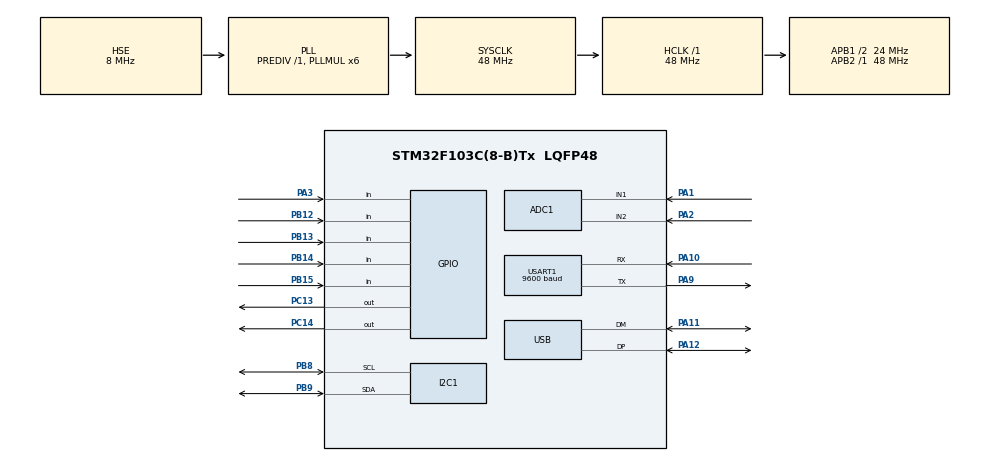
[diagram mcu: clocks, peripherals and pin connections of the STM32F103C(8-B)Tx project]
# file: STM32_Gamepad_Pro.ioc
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ADC1.Channel-3\#ChannelRegularConversion=ADC_CHANNEL_1
ADC1.Channel-4\#ChannelRegularConversion=ADC_CHANNEL_2
ADC1.ContinuousConvMode=ENABLE
ADC1.NbrOfConversion=2
ADC1.NbrOfConversionFlag=1
ADC1.Rank-3\#ChannelRegularConversion=1
ADC1.Rank-4\#ChannelRegularConversion=2
ADC1.SamplingTime-3\#ChannelRegularConversion=ADC_SAMPLETIME_239CYCLES_5
ADC1.SamplingTime-4\#ChannelRegularConversion=ADC_SAMPLETIME_239CYCLES_5
ADC1.master=1
Dma.ADC1.0.Direction=DMA_PERIPH_TO_MEMORY
Dma.ADC1.0.Instance=DMA1_Channel1
Dma.ADC1.0.MemDataAlignment=DMA_MDATAALIGN_WORD
Dma.ADC1.0.MemInc=DMA_MINC_ENABLE
Dma.ADC1.0.Mode=DMA_CIRCULAR
Dma.ADC1.0.PeriphDataAlignment=DMA_PDATAALIGN_WORD
Dma.ADC1.0.PeriphInc=DMA_PINC_DISABLE
Dma.ADC1.0.Priority=DMA_PRIORITY_LOW
Dma.Request0=ADC1
I2C1.I2C_Mode=I2C_Fast
Mcu.Family=STM32F1
Mcu.Name=STM32F103C(8-B)Tx
Mcu.Package=LQFP48
NVIC.DMA1_Channel1_IRQn=true\:0\:0\:false\:false\:true\:false\:true\:true
NVIC.PriorityGroup=NVIC_PRIORITYGROUP_4
NVIC.USART1_IRQn=true\:0\:0\:false\:false\:true\:true\:true\:true
NVIC.USB_LP_CAN1_RX0_IRQn=true\:0\:0\:false\:false\:true\:false\:true\:true
PA1.Signal=ADCx_IN1
PA10.Mode=Asynchronous
PA10.Signal=USART1_RX
PA11.Mode=Device
PA11.Signal=USB_DM
PA12.Mode=Device
PA12.Signal=USB_DP
PA13.Mode=Serial_Wire
PA13.Signal=SYS_JTMS-SWDIO
PA14.Mode=Serial_Wire
PA14.Signal=SYS_JTCK-SWCLK
PA2.Signal=ADCx_IN2
PA3.GPIO_PuPd=GPIO_PULLUP
PA3.Signal=GPIO_Input
PA9.Mode=Asynchronous
PA9.Signal=USART1_TX
PB12.GPIO_PuPd=GPIO_PULLUP
PB12.Signal=GPIO_Input
PB13.GPIO_PuPd=GPIO_PULLUP
PB13.Signal=GPIO_Input
PB14.GPIO_PuPd=GPIO_PULLUP
PB14.Signal=GPIO_Input
PB15.GPIO_PuPd=GPIO_PULLUP
PB15.Signal=GPIO_Input
PB8.Mode=I2C
PB8.Signal=I2C1_SCL
PB9.Mode=I2C
PB9.Signal=I2C1_SDA
PC13-TAMPER-RTC.Signal=GPIO_Output
PC14-OSC32_IN.Signal=GPIO_Output
PD0-OSC_IN.Mode=HSE-External-Oscillator
PD0-OSC_IN.Signal=RCC_OSC_IN
PD1-OSC_OUT.Mode=HSE-External-Oscillator
PD1-OSC_OUT.Signal=RCC_OSC_OUT
ProjectManager.HeapSize=0x200
ProjectManager.StackSize=0x400
ProjectManager.TargetToolchain=STM32CubeIDE
RCC.ADCPresc=RCC_ADCPCLK2_DIV4
RCC.AHBFreq_Value=48000000
RCC.APB1CLKDivider=RCC_HCLK_DIV2
RCC.APB1Freq_Value=24000000
RCC.APB1TimFreq_Value=48000000
RCC.APB2Freq_Value=48000000
RCC.APB2TimFreq_Value=48000000
RCC.HCLKFreq_Value=48000000
RCC.PLLMUL=RCC_PLL_MUL6
RCC.PLLSourceVirtual=RCC_PLLSOURCE_HSE
RCC.SYSCLKFreq_VALUE=48000000
RCC.SYSCLKSource=RCC_SYSCLKSOURCE_PLLCLK
RCC.USBFreq_Value=48000000
SH.ADCx_IN1.0=ADC1_IN1,IN1
SH.ADCx_IN2.0=ADC1_IN2,IN2
USART1.BaudRate=9600
USART1.VirtualMode=VM_ASYNC
USB_DEVICE.CLASS_NAME_FS=HID
USB_DEVICE.VirtualMode=Hid
USB_DEVICE.VirtualModeFS=Hid_FS
VP_USB_DEVICE_VS_USB_DEVICE_HID_FS.Mode=HID_FS
board=custom

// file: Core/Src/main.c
/* USER CODE BEGIN Header */
/**
  ******************************************************************************
  * @file           : main.c
  * @brief          : Main program body
  ******************************************************************************
  * @attention
  *
  * Copyright (c) 2024 STMicroelectronics.
  * All rights reserved.
  *
  * This software is licensed under terms that can be found in the LICENSE file
  * in the root directory of this software component.
  * If no LICENSE file comes with this software, it is provided AS-IS.
  *
  ******************************************************************************
  */
/* USER CODE END Header */
#include "main.h"
#include "usb_device.h"

/* USER CODE BEGIN Includes */
//#include "ssd1306.h"
//#include "fonts.h"
#include "stdio.h"
//#include "pong.h"
#include "button.h"
#include "menu_handle.h"
#include "UartHandler.h"
#include "saved_configs.h"
#include "joystick.h"
#include "keyboard.h"
/* USER CODE END Includes */

/* USER CODE BEGIN PD */
#define DATA_LEN 32

/* USER CODE END PD */

ADC_HandleTypeDef hadc1;
DMA_HandleTypeDef hdma_adc1;

I2C_HandleTypeDef hi2c1;

UART_HandleTypeDef huart1;

/* USER CODE BEGIN PV */
extern USBD_HandleTypeDef hUsbDeviceFS;
uint8_t pre_usb_state = USBD_STATE_DEFAULT;
Button_Typedef btn_up;
Button_Typedef btn_down;
Button_Typedef btn_right;
Button_Typedef btn_left;
Button_Typedef btn_joystick;
Joystick_HandleTypeDef hjoystick;
typedef enum{
	STATE_DISPLAY_MENU,
	STATE_CONNECT,
}State_t;

State_t state = STATE_DISPLAY_MENU;

//uint32_t joystick_x, joystick_y, adc_value[2];

uint8_t SSID[DATA_LEN] = "SEARCHING...";

uint8_t func, len, data[DATA_LEN];

uint32_t t_blink = 0;

GamepadConfig_t config = {
		.mode = 0x00,
		.joystickButtonID = 0x00,
		.button1ID = 0x0D,
		.button2ID = 0x0E,
		.button3ID = 0x0F,
		.button4ID = 0x18,
		.joystickUpID = W_USAGE_ID,
		.joystickDownID = S_USAGE_ID,
		.joystickRightID = D_USAGE_ID,
		.joystickLeftID = A_USAGE_ID,
};
/* USER CODE END PV */

void SystemClock_Config(void);
static void MX_GPIO_Init(void);
static void MX_DMA_Init(void);
static void MX_I2C1_Init(void);
static void MX_USART1_UART_Init(void);
static void MX_ADC1_Init(void);
/* USER CODE BEGIN PFP */
void state_handle(void);
void pong_game_run(void);
//uint32_t MAP(uint32_t au32_IN, uint32_t au32_INmin, uint32_t au32_INmax, uint32_t au32_OUTmin, uint32_t au32_OUTmax);

/* USER CODE END PFP */

/* USER CODE BEGIN 0 */

void Blink_LED(void)
{
	t_blink = HAL_GetTick();
	HAL_GPIO_WritePin(GPIOC, GPIO_PIN_13, 0);
}

void LED_handle(void)
{
	if (HAL_GetTick() - t_blink > 100)
	{
		HAL_GPIO_WritePin(GPIOC, GPIO_PIN_13, 1);
	}
}

//void uart_data_handle(void)
//{
//	HAL_StatusTypeDef ret = UH_GetCommData(&func, data, &len);
//	if(ret == HAL_OK)
//	{
//		Blink_LED();
//		UH_SendACK();
//		switch(func)
//		{
//			case SSID_DATA_FUNC:
//				memset(SSID, 0, DATA_LEN);
//				memcpy(SSID, data, sizeof(data));
//				switch(state)
//				{
//					case STATE_DISPLAY_MENU:
//						display_updated_wifi();
//						break;
//					case STATE_CONNECT:
//					{
//						display_connect_state(pre_usb_state);
//						break;
//					}
//					default: break;
//				}
//				break;
//			case NEW_CONFIG_FUNC:
//				write_config((GamepadConfig_t*)data);
//				break;
//			default: break;
//		}
//	}
//	else if(ret == HAL_ERROR)
//	{
//		UH_SendNACK();
//	}
//}

void uart_data_handle(void)
{
	HAL_StatusTypeDef ret = UH_GetCommData(&func, data, &len);
	if (ret == HAL_OK)
	{
		Blink_LED();
		if (UH_SendACK() != HAL_OK) {
		}
		switch (func)
		{
			case SSID_DATA_FUNC:
				memset(SSID, 0, DATA_LEN);
				memcpy(SSID, data, len < DATA_LEN ? len : DATA_LEN);
				if (state == STATE_DISPLAY_MENU)
				{
					display_updated_wifi();
				}
				else if (state == STATE_CONNECT)
				{
					display_connect_state(pre_usb_state);
				}
				break;

			case NEW_CONFIG_FUNC:
				write_config((GamepadConfig_t*)data);
				break;
			default: break;
		}
	}
	else if (ret == HAL_ERROR)
	{
		UH_SendNACK();
	}
}

void button_time_out_press_handler_cb(Button_Typedef *ButtonX)
{
}
void button_short_press_handler_cb(Button_Typedef *ButtonX)
{
	if(ButtonX == &btn_up)
	{
		switch(state)
		{
			case STATE_DISPLAY_MENU:
				menu_click_up();
				break;
			case STATE_CONNECT:
				break;
			default: break;
		}
	}
	if(ButtonX == &btn_down)
	{
		switch(state)
		{
			case STATE_DISPLAY_MENU:
				menu_click_down();
				break;
			case STATE_CONNECT:
				break;
			default: break;
		}
	}
	if(ButtonX == &btn_joystick)
	{
//		HAL_GPIO_TogglePin(GPIOC, GPIO_PIN_13);
	}
	if(ButtonX == &btn_left)
	{
		switch(state)
		{
			case STATE_DISPLAY_MENU:
				menu_click_back();
				break;
			case STATE_CONNECT:
				break;
			default: break;
		}
	}
	if(ButtonX == &btn_right)
	{
		switch(state)
		{
			case STATE_DISPLAY_MENU:
				menu_click_select();
				break;
			case STATE_CONNECT:
				break;
			default: break;
		}
	}
	if(ButtonX == &btn_joystick)
	{
		switch(state)
		{
			case STATE_DISPLAY_MENU:
				break;
			case STATE_CONNECT:
				if(config.joystickButtonID == 0x00)
				{
					menu_reset();
					state = STATE_DISPLAY_MENU;
				}
				break;
			default: break;
		}
	}
}
void button_press_handler_cb(Button_Typedef *ButtonX)
{
	if(ButtonX == &btn_up)
	{
		switch(state)
		{
			case STATE_DISPLAY_MENU:
				break;
			case STATE_CONNECT:
				pressKey(config.button1ID);
				break;
			default: break;
		}
	}
	if(ButtonX == &btn_down)
	{
		switch(state)
		{
			case STATE_DISPLAY_MENU:
				break;
			case STATE_CONNECT:
				pressKey(config.button2ID);
				break;
			default: break;
		}
	}
	if(ButtonX == &btn_left)
	{
		switch(state)
		{
			case STATE_DISPLAY_MENU:
				break;
			case STATE_CONNECT:
				pressKey(config.button3ID);
				break;
			default: break;
		}
	}
	if(ButtonX == &btn_right)
	{
		switch(state)
		{
			case STATE_DISPLAY_MENU:
				break;
			case STATE_CONNECT:
				pressKey(config.button4ID);
				break;
			default: break;
		}
	}
	if(ButtonX == &btn_joystick)
	{
		switch(state)
		{
			case STATE_DISPLAY_MENU:
				break;
			case STATE_CONNECT:
				break;
			default: break;
		}
	}
}

void button_release_handler_cb(Button_Typedef *ButtonX)
{
	if(ButtonX == &btn_up)
	{
		switch(state)
		{
			case STATE_DISPLAY_MENU:
				break;
			case STATE_CONNECT:
				releaseKey(config.button1ID);
				break;
			default: break;
		}
	}
	if(ButtonX == &btn_down)
	{
		switch(state)
		{
			case STATE_DISPLAY_MENU:
				break;
			case STATE_CONNECT:
				releaseKey(config.button2ID);
				break;
			default: break;
		}
	}
	if(ButtonX == &btn_left)
	{
		switch(state)
		{
			case STATE_DISPLAY_MENU:
				break;
			case STATE_CONNECT:
				releaseKey(config.button3ID);
				break;
			default: break;
		}
	}
	if(ButtonX == &btn_right)
	{
		switch(state)
		{
			case STATE_DISPLAY_MENU:
				break;
			case STATE_CONNECT:
				releaseKey(config.button4ID);
				break;
			default: break;
		}
	}
	if(ButtonX == &btn_joystick)
	{
		switch(state)
		{
			case STATE_DISPLAY_MENU:
				break;
			case STATE_CONNECT:
				break;
			default: break;
		}
	}
}

void connect_mode_callback(void)
{
	display_connect_state(pre_usb_state);
	state = STATE_CONNECT;
}

void connect_interface_handle(void)
{
	if (hUsbDeviceFS.dev_state != pre_usb_state)
	{
		pre_usb_state = hUsbDeviceFS.dev_state;
		display_connect_state(pre_usb_state);
	}
}

void joystick_right_push_cb(Joystick_HandleTypeDef* hjoy)
{
	switch(state)
	{
		case STATE_DISPLAY_MENU:
			button_short_press_handler_cb(&btn_right);
			break;
		case STATE_CONNECT:
			pressKey(config.joystickRightID);
			break;
		default: break;
	}
}
void joystick_right_release_cb(Joystick_HandleTypeDef* hjoy)
{
	switch(state)
	{
		case STATE_DISPLAY_MENU:
			break;
		case STATE_CONNECT:
			releaseKey(config.joystickRightID);
			break;
		default: break;
	}
}
void joystick_left_push_cb(Joystick_HandleTypeDef* hjoy)
{
	switch(state)
	{
		case STATE_DISPLAY_MENU:
			button_short_press_handler_cb(&btn_left);
			break;
		case STATE_CONNECT:
			pressKey(config.joystickLeftID);
			break;
		default: break;
	}
}
void joystick_left_release_cb(Joystick_HandleTypeDef* hjoy)
{
	switch(state)
	{
		case STATE_DISPLAY_MENU:
			break;
		case STATE_CONNECT:
			releaseKey(config.joystickLeftID);
			break;
		default: break;
	}
}
void joystick_up_push_cb(Joystick_HandleTypeDef* hjoy)
{
	switch(state)
	{
		case STATE_DISPLAY_MENU:
			button_short_press_handler_cb(&btn_up);
			break;
		case STATE_CONNECT:
			pressKey(config.joystickUpID);
			break;
		default: break;
	}
}
void joystick_up_release_cb(Joystick_HandleTypeDef* hjoy)
{
	switch(state)
	{
		case STATE_DISPLAY_MENU:
			break;
		case STATE_CONNECT:
			releaseKey(config.joystickUpID);
			break;
		default: break;
	}
}
void joystick_down_push_cb(Joystick_HandleTypeDef* hjoy)
{
	switch(state)
	{
		case STATE_DISPLAY_MENU:
			button_short_press_handler_cb(&btn_down);
			break;
		case STATE_CONNECT:
			pressKey(config.joystickDownID);
			break;
		default: break;
	}
}
void joystick_down_release_cb(Joystick_HandleTypeDef* hjoy)
{
	switch(state)
	{
		case STATE_DISPLAY_MENU:
			break;
		case STATE_CONNECT:
			releaseKey(config.joystickDownID);
			break;
		default: break;
	}
}

void state_handle(void)
{
	button_handler(&btn_up);
	button_handler(&btn_down);
	button_handler(&btn_right);
	button_handler(&btn_left);
	button_handler(&btn_joystick);
	joystick_handler(&hjoystick);
	uart_data_handle();
	LED_handle();

	switch(state)
	{
		case STATE_DISPLAY_MENU:
			break;
		case STATE_CONNECT:
			connect_interface_handle();
			break;
		default: break;
	}
}
/* USER CODE END 0 */

int main(void)
{

  /* MCU Configuration--------------------------------------------------------*/

  /* Reset of all peripherals, Initializes the Flash interface and the Systick. */
  HAL_Init();

  /* Configure the system clock */
  SystemClock_Config();

  /* Initialize all configured peripherals */
  MX_GPIO_Init();
  MX_DMA_Init();
  MX_I2C1_Init();
  MX_USART1_UART_Init();
  MX_ADC1_Init();
  MX_USB_DEVICE_Init();
  /* USER CODE BEGIN 2 */

//  HAL_ADC_Start_DMA(&hadc1, (uint32_t *)adc_value, 2);

  button_init(&btn_up, GPIOB, GPIO_PIN_14);
  button_init(&btn_down, GPIOB, GPIO_PIN_15);
  button_init(&btn_left, GPIOB, GPIO_PIN_13);
  button_init(&btn_right, GPIOB, GPIO_PIN_12);
  button_init(&btn_joystick, GPIOA, GPIO_PIN_3);
  joystick_init(&hadc1, &hjoystick);
//  SSD1306_Init (); // initialize the display
  UH_Init();
  menu_init();

//  SSD1306_GotoXY (0,0);
//  SSD1306_Puts ("SSID: ", &Font_7x10, 1);
//  SSD1306_GotoXY (0, 20);
//  SSD1306_Puts ("CONNECT", &Font_7x10, 1);
//  SSD1306_UpdateScreen();
//  HAL_Delay (1000);
//
//  SSD1306_ScrollRight(1, 3);
//  HAL_Delay(3000);

//  SSD1306_ScrollLeft(0,1);
//  HAL_Delay(3000);
  /* USER CODE END 2 */

  /* Infinite loop */
  /* USER CODE BEGIN WHILE */
  while (1)
  {
	  state_handle();
    /* USER CODE END WHILE */

  }
}

void SystemClock_Config(void)
{
  RCC_OscInitTypeDef RCC_OscInitStruct = {0};
  RCC_ClkInitTypeDef RCC_ClkInitStruct = {0};
  RCC_PeriphCLKInitTypeDef PeriphClkInit = {0};

  /** Initializes the RCC Oscillators according to the specified parameters
  * in the RCC_OscInitTypeDef structure.
  */
  RCC_OscInitStruct.OscillatorType = RCC_OSCILLATORTYPE_HSE;
  RCC_OscInitStruct.HSEState = RCC_HSE_ON;
  RCC_OscInitStruct.HSEPredivValue = RCC_HSE_PREDIV_DIV1;
  RCC_OscInitStruct.HSIState = RCC_HSI_ON;
  RCC_OscInitStruct.PLL.PLLState = RCC_PLL_ON;
  RCC_OscInitStruct.PLL.PLLSource = RCC_PLLSOURCE_HSE;
  RCC_OscInitStruct.PLL.PLLMUL = RCC_PLL_MUL6;
  if (HAL_RCC_OscConfig(&RCC_OscInitStruct) != HAL_OK)
  {
    Error_Handler();
  }

  /** Initializes the CPU, AHB and APB buses clocks
  */
  RCC_ClkInitStruct.ClockType = RCC_CLOCKTYPE_HCLK|RCC_CLOCKTYPE_SYSCLK
                              |RCC_CLOCKTYPE_PCLK1|RCC_CLOCKTYPE_PCLK2;
  RCC_ClkInitStruct.SYSCLKSource = RCC_SYSCLKSOURCE_PLLCLK;
  RCC_ClkInitStruct.AHBCLKDivider = RCC_SYSCLK_DIV1;
  RCC_ClkInitStruct.APB1CLKDivider = RCC_HCLK_DIV2;
  RCC_ClkInitStruct.APB2CLKDivider = RCC_HCLK_DIV1;

  if (HAL_RCC_ClockConfig(&RCC_ClkInitStruct, FLASH_LATENCY_1) != HAL_OK)
  {
    Error_Handler();
  }
  PeriphClkInit.PeriphClockSelection = RCC_PERIPHCLK_ADC|RCC_PERIPHCLK_USB;
  PeriphClkInit.AdcClockSelection = RCC_ADCPCLK2_DIV4;
  PeriphClkInit.UsbClockSelection = RCC_USBCLKSOURCE_PLL;
  if (HAL_RCCEx_PeriphCLKConfig(&PeriphClkInit) != HAL_OK)
  {
    Error_Handler();
  }
}

static void MX_ADC1_Init(void)
{

  ADC_ChannelConfTypeDef sConfig = {0};

  /** Common config
  */
  hadc1.Instance = ADC1;
  hadc1.Init.ScanConvMode = ADC_SCAN_ENABLE;
  hadc1.Init.ContinuousConvMode = ENABLE;
  hadc1.Init.DiscontinuousConvMode = DISABLE;
  hadc1.Init.ExternalTrigConv = ADC_SOFTWARE_START;
  hadc1.Init.DataAlign = ADC_DATAALIGN_RIGHT;
  hadc1.Init.NbrOfConversion = 2;
  if (HAL_ADC_Init(&hadc1) != HAL_OK)
  {
    Error_Handler();
  }

  /** Configure Regular Channel
  */
  sConfig.Channel = ADC_CHANNEL_1;
  sConfig.Rank = ADC_REGULAR_RANK_1;
  sConfig.SamplingTime = ADC_SAMPLETIME_239CYCLES_5;
  if (HAL_ADC_ConfigChannel(&hadc1, &sConfig) != HAL_OK)
  {
    Error_Handler();
  }

  /** Configure Regular Channel
  */
  sConfig.Channel = ADC_CHANNEL_2;
  sConfig.Rank = ADC_REGULAR_RANK_2;
  if (HAL_ADC_ConfigChannel(&hadc1, &sConfig) != HAL_OK)
  {
    Error_Handler();
  }

}

static void MX_I2C1_Init(void)
{

  hi2c1.Instance = I2C1;
  hi2c1.Init.ClockSpeed = 400000;
  hi2c1.Init.DutyCycle = I2C_DUTYCYCLE_2;
  hi2c1.Init.OwnAddress1 = 0;
  hi2c1.Init.AddressingMode = I2C_ADDRESSINGMODE_7BIT;
  hi2c1.Init.DualAddressMode = I2C_DUALADDRESS_DISABLE;
  hi2c1.Init.OwnAddress2 = 0;
  hi2c1.Init.GeneralCallMode = I2C_GENERALCALL_DISABLE;
  hi2c1.Init.NoStretchMode = I2C_NOSTRETCH_DISABLE;
  if (HAL_I2C_Init(&hi2c1) != HAL_OK)
  {
    Error_Handler();
  }

}

static void MX_USART1_UART_Init(void)
{

  huart1.Instance = USART1;
  huart1.Init.BaudRate = 9600;
  huart1.Init.WordLength = UART_WORDLENGTH_8B;
  huart1.Init.StopBits = UART_STOPBITS_1;
  huart1.Init.Parity = UART_PARITY_NONE;
  huart1.Init.Mode = UART_MODE_TX_RX;
  huart1.Init.HwFlowCtl = UART_HWCONTROL_NONE;
  huart1.Init.OverSampling = UART_OVERSAMPLING_16;
  if (HAL_UART_Init(&huart1) != HAL_OK)
  {
    Error_Handler();
  }

}

static void MX_DMA_Init(void)
{

  /* DMA controller clock enable */
  __HAL_RCC_DMA1_CLK_ENABLE();

  /* DMA interrupt init */
  /* DMA1_Channel1_IRQn interrupt configuration */
  HAL_NVIC_SetPriority(DMA1_Channel1_IRQn, 0, 0);
  HAL_NVIC_EnableIRQ(DMA1_Channel1_IRQn);

}

static void MX_GPIO_Init(void)
{
  GPIO_InitTypeDef GPIO_InitStruct = {0};

  /* GPIO Ports Clock Enable */
  __HAL_RCC_GPIOC_CLK_ENABLE();
  __HAL_RCC_GPIOD_CLK_ENABLE();
  __HAL_RCC_GPIOA_CLK_ENABLE();
  __HAL_RCC_GPIOB_CLK_ENABLE();

  /*Configure GPIO pin Output Level */
  HAL_GPIO_WritePin(GPIOC, GPIO_PIN_13|GPIO_PIN_14, GPIO_PIN_RESET);

  /*Configure GPIO pins : PC13 PC14 */
  GPIO_InitStruct.Pin = GPIO_PIN_13|GPIO_PIN_14;
  GPIO_InitStruct.Mode = GPIO_MODE_OUTPUT_PP;
  GPIO_InitStruct.Pull = GPIO_NOPULL;
  GPIO_InitStruct.Speed = GPIO_SPEED_FREQ_LOW;
  HAL_GPIO_Init(GPIOC, &GPIO_InitStruct);

  /*Configure GPIO pin : PA3 */
  GPIO_InitStruct.Pin = GPIO_PIN_3;
  GPIO_InitStruct.Mode = GPIO_MODE_INPUT;
  GPIO_InitStruct.Pull = GPIO_PULLUP;
  HAL_GPIO_Init(GPIOA, &GPIO_InitStruct);

  /*Configure GPIO pins : PB12 PB13 PB14 PB15 */
  GPIO_InitStruct.Pin = GPIO_PIN_12|GPIO_PIN_13|GPIO_PIN_14|GPIO_PIN_15;
  GPIO_InitStruct.Mode = GPIO_MODE_INPUT;
  GPIO_InitStruct.Pull = GPIO_PULLUP;
  HAL_GPIO_Init(GPIOB, &GPIO_InitStruct);

}

void Error_Handler(void)
{
  __disable_irq();
  while (1)
  {
  }
}
